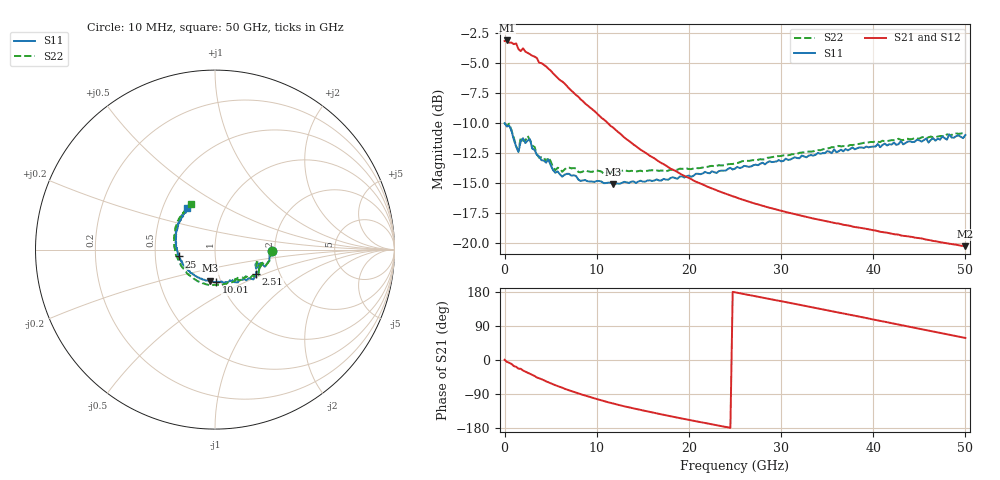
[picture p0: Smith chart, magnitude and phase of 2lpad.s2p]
# HZ S DB R 50
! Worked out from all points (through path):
!   201 points, 10 MHz to 50 GHz, reference 50 ohm
!   highest |S21| = -3.13 dB at 259.9 MHz (marker M1); lowest = -20.3 dB at 50 GHz (marker M2)
!   lowest |S11| = -15.1 dB at 11.76 GHz (marker M3), VSWR 1.43, Z = 44.4 - j16 ohm
!   |S11| at or under -10 dB: start of sweep to end of sweep
!   |S22| runs from -14.2 to -10.0 dB; largest |S21 - S12| = 0.0034
!   S11 on the Smith chart (normalised r, x): 10 MHz: 1.92, -0.03; 2.51 GHz: 1.52, -0.45; 10.01 GHz: 0.95, -0.35; 25 GHz: 0.66, -0.05; 50 GHz: 0.66, +0.33
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1e7  -10.03 -1.1  -3.18 0.5  -3.22 0.4  -10.00 -1.4
2.5995e8  -10.30 -3.8  -3.13 -4.9  -3.13 -5.0  -10.25 -2.6
7.5985e8  -10.65 -19.0  -3.31 -10.5  -3.30 -10.6  -10.61 -18.5
1.0098e9  -11.40 -16.1  -3.44 -16.0  -3.44 -16.1  -11.24 -15.4
1.25975e9  -11.97 -24.8  -3.38 -18.0  -3.37 -18.1  -11.93 -23.7
1.5097e9  -12.42 -20.0  -3.85 -22.9  -3.85 -22.9  -12.34 -16.4
1.75965e9  -11.53 -16.8  -4.01 -23.2  -4.01 -23.3  -11.19 -16.5
2.0096e9  -11.28 -27.2  -3.79 -27.7  -3.78 -27.9  -11.48 -25.0
2.25955e9  -11.67 -28.8  -4.06 -30.6  -4.05 -30.7  -11.47 -23.0
2.5095e9  -11.47 -30.8  -4.17 -33.5  -4.17 -33.7  -11.08 -30.1
2.75945e9  -11.35 -37.9  -4.28 -36.4  -4.27 -36.6  -11.43 -34.4
3.75925e9  -12.79 -47.2  -4.99 -48.3  -4.99 -48.4  -12.90 -41.1
5.009e9  -13.52 -59.3  -5.64 -61.8  -5.64 -61.9  -13.18 -51.2
5.5089e9  -14.15 -59.9  -6.05 -66.5  -6.05 -66.7  -13.94 -51.4
8.5083e9  -14.78 -78.7  -8.19 -92.1  -8.19 -92.4  -14.04 -69.2
1.0008e10  -14.83 -88.4  -9.20 -103.0  -9.20 -103.3  -13.96 -79.4
1.175765e10  -15.07 -99.6  -10.37 -114.6  -10.37 -114.9  -14.14 -91.2
1.675665e10  -14.80 -129.6  -13.22 -142.2  -13.22 -142.7  -13.99 -123.0
2.5005e10  -13.80 -169.2  -16.16 178.7  -16.17 178.0  -13.36 -167.7
3.35033e10  -12.72 159.0  -17.96 138.5  -17.95 137.6  -12.36 159.3
4.175165e10  -11.78 137.3  -19.18 98.4  -19.19 97.3  -11.47 135.2
5e10  -11.01 124.1  -20.26 58.1  -20.29 56.9  -10.78 117.9
